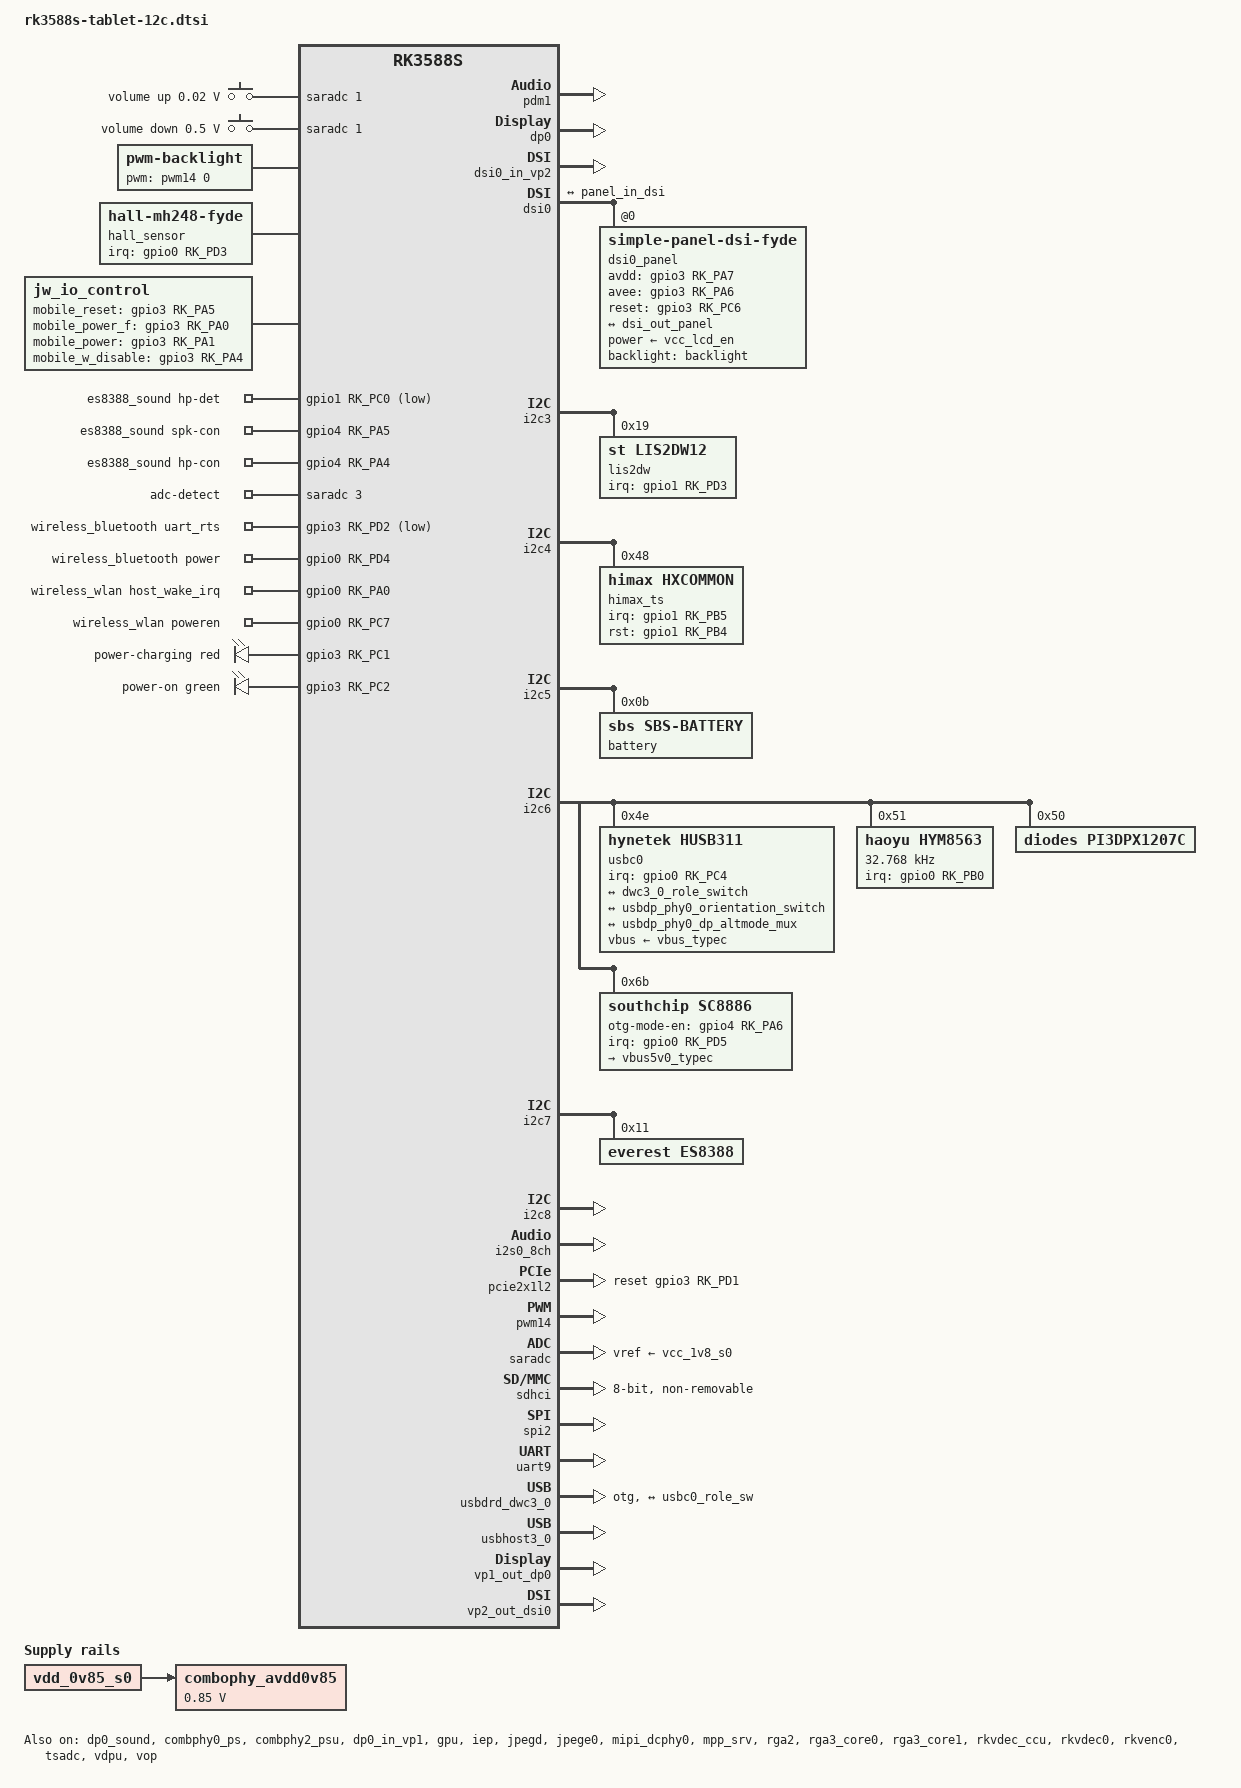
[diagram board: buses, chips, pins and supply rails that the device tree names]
// SPDX-License-Identifier: (GPL-2.0+ OR MIT)
/*
 * Copyright (c) 2021 Rockchip Electronics Co., Ltd.
 *
 */
#include <dt-bindings/leds/common.h>
#include "dt-bindings/usb/pd.h"
#include "rk3588s.dtsi"
#include "rk3588s-12c.dtsi"
#include "rk3588s-12c-rk806-single.dtsi"

/ {
	adc_keys: adc-keys {
		compatible = "adc-keys";
		io-channels = <&saradc 1>;
		io-channel-names = "buttons";
		keyup-threshold-microvolt = <1800000>;
		poll-interval = <100>;
		status = "okay";
		vol-up-key {
			label = "volume up";
			linux,code = <KEY_VOLUMEUP>;
			press-threshold-microvolt = <20000>;
		};

		vol-down-key {
			label = "volume down";
			linux,code = <KEY_VOLUMEDOWN>;
			press-threshold-microvolt = <500000>;
		};
	};

	backlight: backlight {
		compatible = "pwm-backlight";
		pwms = <&pwm14 0 25000 0>;
		brightness-levels = <
			  0  20  20  21  21  22  22  23
			 23  24  24  25  25  26  26  27
			 27  28  28  29  29  30  30  31
			 31  32  32  33  33  34  34  35
			 35  36  36  37  37  38  38  39
			 40  41  42  43  44  45  46  47
			 48  49  50  51  52  53  54  55
			 56  57  58  59  60  61  62  63
			 64  65  66  67  68  69  70  71
			 72  73  74  75  76  77  78  79
			 80  81  82  83  84  85  86  87
			 88  89  90  91  92  93  94  95
			 96  97  98  99 100 101 102 103
			104 105 106 107 108 109 110 111
			112 113 114 115 116 117 118 119
			120 121 122 123 124 125 126 127
			128 129 130 131 132 133 134 135
			136 137 138 139 140 141 142 143
			144 145 146 147 148 149 150 151
			152 153 154 155 156 157 158 159
			160 161 162 163 164 165 166 167
			168 169 170 171 172 173 174 175
			176 177 178 179 180 181 182 183
			184 185 186 187 188 189 190 191
			192 193 194 195 196 197 198 199
			200 201 202 203 204 205 206 207
			208 209 210 211 212 213 214 215
			216 217 218 219 220 221 222 223
			224 225 226 227 228 229 230 231
			232 233 234 235 236 237 238 239
			240 241 242 243 244 245 246 247
			248 249 250 251 252 253 254 255
		>;
		default-brightness-level = <200>;
    post-pwm-on-delay-ms = <200>;
	};

    hall_sensor: hall-mh248 {
        compatible = "hall-mh248-fyde";
        pinctrl-names = "default";
        pinctrl-0 = <&mh248_irq_gpio>;
        irq-gpio = <&gpio0 RK_PD3 IRQ_TYPE_EDGE_BOTH>;
        hall-active = <1>;
        status = "okay";
    };

	combophy_avdd0v85: combophy-avdd0v85 {
		compatible = "regulator-fixed";
		regulator-name = "combophy_avdd0v85";
		regulator-boot-on;
		regulator-min-microvolt = <850000>;
		regulator-max-microvolt = <850000>;
		vin-supply = <&vdd_0v85_s0>;
	};

    jw_io_control: jw_io_control {
        status = "okay";
        compatible = "jw_io_control";
        mobile_reset = <&gpio3 RK_PA5 GPIO_ACTIVE_HIGH>;
        mobile_power_f = <&gpio3 RK_PA0 GPIO_ACTIVE_HIGH>;
        mobile_power = <&gpio3 RK_PA1 GPIO_ACTIVE_HIGH>;
        mobile_w_disable = <&gpio3 RK_PA4 GPIO_ACTIVE_HIGH>;
    };

	charge-animation {
		compatible = "rockchip,uboot-charge";
		rockchip,uboot-charge-on = <0>;
		rockchip,android-charge-on = <1>;
		rockchip,uboot-low-power-voltage = <3350>;
		rockchip,screen-on-voltage = <3400>;
		status = "okay";
	};

    es8388_sound: es8388-sound {
        status = "okay";
        compatible = "rockchip,multicodecs-card";
        rockchip,card-name = "rockchip-es8388";
        hp-det-gpio = <&gpio1 RK_PC0 GPIO_ACTIVE_LOW>;
        io-channels = <&saradc 3>;
        io-channel-names = "adc-detect";
        keyup-threshold-microvolt = <500000>;
        poll-interval = <100>;
        spk-con-gpio = <&gpio4 RK_PA5 GPIO_ACTIVE_HIGH>;
        hp-con-gpio = <&gpio4 RK_PA4 GPIO_ACTIVE_HIGH>;
        rockchip,format = "i2s";
        rockchip,mclk-fs = <256>;
        rockchip,cpu = <&i2s0_8ch>;
        rockchip,codec = <&es8388>;
        rockchip,audio-routing =
                "Headphone", "LOUT1",
                "Headphone", "ROUT1",
                "Speaker", "LOUT2",
                "Speaker", "ROUT2",
                "Headphone", "Headphone Power",
                "Headphone", "Headphone Power",
                "Speaker", "Speaker Power",
                "Speaker", "Speaker Power",
                "LINPUT1", "Main Mic",
                "LINPUT2", "Main Mic",
                "RINPUT1", "Headset Mic",
                "RINPUT2", "Headset Mic";
        pinctrl-names = "default";
        pinctrl-0 = <&hp_det>;
        play-pause-key {
                label = "playpause";
                linux,code = <KEY_PLAYPAUSE>;
                press-threshold-microvolt = <10000>;
        };
        vol-up-key {
            label = "volume up";
            linux,code = <KEY_VOLUMEUP>;
            press-threshold-microvolt = <135000>;
        };
        vol-down-key {
            label = "volume down";
            linux,code = <KEY_VOLUMEDOWN>;
            press-threshold-microvolt = <220000>;
        };
    };

    dmic: dmic {
        status = "okay";
        compatible = "simple-audio-card";
        simple-audio-card,name = "rockchip,dmic";

        simple-audio-card,dai-link@0 {
            format = "pdm";
            cpu {
                sound-dai = <&pdm1>;
            };
			codec {
				sound-dai = <&pdmics>;
			};
        };
    };

	pdmics: dummy-codec {
		status = "okay";
		compatible = "rockchip,dummy-codec";
		#sound-dai-cells = <0>;
	};

	wireless_bluetooth: wireless-bluetooth {
		compatible = "bluetooth-platdata";
		clocks = <&hym8563>;
		clock-names = "ext_clock";
		uart_rts_gpios = <&gpio3 RK_PD2 GPIO_ACTIVE_LOW>;
		pinctrl-names = "default", "rts_gpio";
		pinctrl-0 = <&uart9m2_rtsn>, <&bt_reset_gpio>, <&bt_wake_gpio>, <&bt_wake_host_irq>;
		pinctrl-1 = <&uart9_gpios>;
		BT,power_gpio    = <&gpio0 RK_PD4 GPIO_ACTIVE_HIGH>;
		//BT,wake_gpio     = <&gpio0 RK_PC6 GPIO_ACTIVE_HIGH>;
		//BT,wake_host_irq = <&gpio0 RK_PC5 GPIO_ACTIVE_HIGH>;
		status = "okay";
	};

	wireless_wlan: wireless-wlan {
		compatible = "wlan-platdata";
		wifi_chip_type = "ap6275p";
		pinctrl-names = "default";
		pinctrl-0 = <&wifi_host_wake_irq>, <&wifi_poweren_gpio>;
		WIFI,host_wake_irq = <&gpio0 RK_PA0 GPIO_ACTIVE_HIGH>;
		WIFI,poweren_gpio = <&gpio0 RK_PC7 GPIO_ACTIVE_HIGH>;
		status = "okay";
	};

  leds {
    compatible = "gpio-leds";
    pinctrl-names = "default";
    pinctrl-0 = <&red_led_pin &green_led_pin>;

    red_led: led-0 {
      color = <LED_COLOR_ID_RED>;
      default-state = "off";
      gpios = <&gpio3 RK_PC1 GPIO_ACTIVE_HIGH>;
      linux,default-trigger = "sbs-5-000b-charging";
      label = "power-charging";
      retain-state-suspended;
    };

    green_led: led-1 {
      color = <LED_COLOR_ID_GREEN>;
      default-state = "on";
      gpios = <&gpio3 RK_PC2 GPIO_ACTIVE_HIGH>;
      linux,default-trigger = "timer";
      label = "power-on";
      led-pattern = <500>, <1500>;
    };

  };
};

&pdm1 {
	rockchip,path-map = <3 2 1 0>;
	pinctrl-names = "default";
	pinctrl-0 = <&pdm1m1_clk1 &pdm1m1_sdi3>;
	status = "okay";
};

&dp0_sound {
  /*
  pinctrl-0 = <&cc_int0_hpdin_l>;
  hpd-gpios = <&gpio0 RK_PC4 GPIO_ACTIVE_HIGH>;
  */
  status = "okay";
};

&combphy0_ps {
	status = "okay";
};

&combphy2_psu {
	status = "okay";
};

&cpu_l0 {
	cpu-supply = <&vdd_cpu_lit_s0>;
	mem-supply = <&vdd_cpu_lit_mem_s0>;
};

&cpu_b0 {
	cpu-supply = <&vdd_cpu_big0_s0>;
	mem-supply = <&vdd_cpu_big0_mem_s0>;
};

&cpu_b2 {
	cpu-supply = <&vdd_cpu_big1_s0>;
	mem-supply = <&vdd_cpu_big1_mem_s0>;
};

&dp0 {
	status = "okay";
};

&dp0_in_vp1 {
	status = "okay";
};

&dsi0_in_vp2 {
	status = "okay";
};

/*
 * mipi_dcphy0 needs to be enabled
 * when dsi0 is enabled
 */
&dsi0 {
	status = "okay";
	rockchip,lane-rate = <676000>;
	dsi0_panel: panel@0 {
		status = "okay";
		compatible = "simple-panel-dsi-fyde";
		reg = <0>;
		backlight = <&backlight>;
		power-supply = <&vcc_lcd_en>;
		//enable-gpios = <&gpio4 RK_PA3 GPIO_ACTIVE_HIGH>;
		avdd-gpios = <&gpio3 RK_PA7 GPIO_ACTIVE_HIGH>;
		avee-gpios = <&gpio3 RK_PA6 GPIO_ACTIVE_HIGH>;
		reset-gpios = <&gpio3 RK_PC6 GPIO_ACTIVE_HIGH>;
		pinctrl-names = "default";
		pinctrl-0 = <&avdd_lcd_gpio &avee_lcd_gpio &lcd_rst_gpio>;
		reset-delay-ms = <120>;
		enable-delay-ms = <120>;
		prepare-delay-ms = <120>;
		init-delay-ms = <120>;
		unprepare-delay-ms = <120>;
		disable-delay-ms = <120>;
		compressed-data;
		//dsi,flags = <(MIPI_DSI_MODE_LPM | MIPI_DSI_MODE_EOT_PACKET)>;
		dsi,flags = <(MIPI_DSI_MODE_VIDEO | MIPI_DSI_MODE_VIDEO_BURST | MIPI_DSI_MODE_LPM | MIPI_DSI_MODE_EOT_PACKET)>;
		dsi,format = <MIPI_DSI_FMT_RGB888>;
		dsi,lanes  = <4>;

    slice-width = <1600>;
    slice-height = <40>;
    version-major = <1>;
    version-minor = <1>;
		panel-init-sequence = [

		   0a 31 58 11 00 00 89 30 80 0A 00 06 40 00 28 06 40 06 40 02 00 04 21 00 20 05 D0 00 16 00 0C 02 77 00 DA 18 00 10 E0 03 0C 20 00 06 0B 0B 33 0E 1C 2A 38 46 54 62 69 70 77 79 7B 7D 7E 01 02 01 00 09 40 09 BE 19 FC 19 FA 19 F8 1A 38 1A 78 1A B6 2A F6 2B 34 2B 74 3B 74 6B 74
			39 00 06 B9 83 12 1A 55 00
			39 00 03 51 08 00
			39 00 02 53 24
			39 00 1D B1 1C 6B 6B 27 E7 00 1B 12 20 20 2D 2D 1F 33 31 40 CD FF 1A 05 15 98 00 88 F9 FF FF CF
			39 00 12 B2 00 6A 40 00 00 14 6E 40 73 02 80 21 21 00 00 10 27
			39 00 2D B4 64 00 08 7F 08 7F 00 62 01 72 01 72 00 60 00 00 0A 08 00 29 05 05 05 00 00 00 00 00 00 00 00 00 00 00 FF 00 FF 14 00 00 0F 0F 2D 2D
			39 00 04 B6 8F 8F 03
			39 00 03 BC 06 02
			39 00 07 C0 34 34 44 00 08 D8
			39 00 06 C9 00 1E 80 A5 01
			39 00 07 CB 00 13 38 00 0B 27
			39 00 02 CC 02
			39 00 02 D1 07
			39 00 29 D3 00 C0 08 08 08 04 04 04 14 02 07 07 07 31 13 12 12 12 03 03 03 32 10 11 00 11 32 10 03 00 03 32 10 03 00 03 00 00 FF 00
			39 00 31 D5 19 19 18 18 02 02 03 03 04 04 05 05 06 06 07 07 00 00 01 01 18 18 40 40 20 20 18 18 18 18 40 40 18 18 2F 2F 31 31 2F 2F 31 31 18 18 41 41 41 41
			39 00 31 D6 40 40 18 18 05 05 04 04 03 03 02 02 01 01 00 00 07 07 06 06 18 18 19 19 20 20 18 18 18 18 40 40 18 18 2F 2F 31 31 2F 2F 31 31 18 18 41 41 41 41
			39 00 40 E1 11 00 00 89 30 80 0A 00 06 40 00 28 06 40 06 40 02 00 04 21 00 20 05 D0 00 16 00 0C 02 77 00 DA 18 00 10 E0 03 0C 20 00 06 0B 0B 33 0E 1C 2A 38 46 54 62 69 70 77 79 7B 7D 7E 01 02 01 00 09
			39 00 0C E7 06 14 14 1A 23 38 00 23 5D 02 02
			39 00 02 BD 01
			39 00 04 B1 01 23 00
			39 00 25 D8 20 00 02 22 00 00 20 00 02 22 00 00 20 00 02 22 00 00 20 00 02 22 00 00 20 00 02 22 00 00 20 00 02 22 00 00
			39 00 1A E1 40 09 BE 19 FC 19 FA 19 F8 1A 38 1A 78 1A B6 2A F6 2B 34 2B 74 3B 74 6B F4
			39 00 0D E7 02 00 40 01 84 13 BE 14 48 00 04 26
			39 00 08 CB 1F 55 03 28 0D 08 0A
			39 00 02 BD 02
			39 00 0D D8 AF FF FA FA BF EA AF FF FA FA BF EA
			39 00 23 E7 01 05 01 03 01 03 04 02 02 24 00 24 81 02 40 00 29 60 03 02 01 00 00 00 00 00 00 00 00 00 00 00 00 00
			39 00 02 BD 03
			39 00 19 D8 AA AA AA AB BF EA AA AA AA AB BF EA AF FF FA FA BF EA AF FF FA FA BF EA
			39 00 03 E1 01 3F
			39 00 02 BD 00
			39 00 2F E0 00 13 30 36 40 78 8B 94 95 97 94 94 91 8F 8F 8B 8A 8C 8E A6 B7 4D 7F 00 13 30 36 40 78 8B 94 95 97 94 94 91 8F 8F 8B 8A 8C 8E A6 B7 4D 7F
			39 00 05 BA 70 03 A8 92
			39 00 25 D8 EA AA AA AE AA AF EA AA AA AE AA AF E0 00 0A 2E 80 2F E0 00 0A 2E 80 2F E0 00 0A 2E 80 2F E0 00 0A 2E 80 2F
			39 00 02 BD 00
			39 00 02 C1 01
			39 00 02 BD 01
			39 00 3B C1 00 04 08 0C 10 14 18 1C 1F 23 27 2B 2F 33 37 3B 3F 43 47 4B 52 5A 62 69 71 79 81 89 91 98 A1 A9 B1 B9 C1 CA D2 DA E3 EA F4 F8 F9 FB FD FF 16 A4 44 16 90 E7 F9 71 A0 F3 1F 40
			39 00 02 BD 02
			39 00 3B C1 00 04 08 0C 10 14 18 1C 20 24 28 2D 31 35 39 3D 41 45 49 4D 55 5D 65 6D 75 7D 85 8D 94 9C A4 AC B4 BC C4 CC D4 DC E4 EC F4 F8 FA FC FE FF 06 AA FC 5B FF FF A4 F9 86 F9 55 40
			39 00 02 BD 03
			39 00 3B C1 00 04 07 0B 0F 13 17 1B 1F 23 27 2C 30 33 38 3C 40 44 48 4C 53 5B 63 6B 72 7A 82 89 91 99 A1 A9 B1 B9 C1 C9 D1 DA E2 EA F3 F6 F9 FA FE FF 0F 9A FC 31 40 E4 FB E9 A3 D9 77 00
			39 00 02 BD 02
			39 00 02 BF 72
			39 00 02 BD 00
			39 00 08 BF FD 00 80 9C 10 00 80
			39 00 02 E9 DE
			39 00 04 B1 CC 03 00
			39 00 02 E9 3F
			39 00 07 D0 07 C0 08 03 11 00
			39 00 03 B0 00 00
			39 00 02 E9 CF
			39 00 02 BA 03
			39 00 02 E9 3F
			//39 00 04 B9 83 12 1A
			//39 00 02 C7 00
			//39 00 02 CF FF


			39 00 01 11
			39 00 01 29

		];

		panel-exit-sequence = [

		];

    width-mm = <166>;
    height-mm = <266>;
    rotation = <90>;
    bpc = <8>;

			dsi0_timing0: panel-timing {
				clock-frequency = <275000000>;
				hactive = <1600>;
				vactive = <2560>;
				hfront-porch = <60>;
				hsync-len = <20>;
				hback-porch = <40>;
				vfront-porch = <112>;
				vsync-len = <4>;
				vback-porch = <18>;
				hsync-active = <0>;
				vsync-active = <0>;
				de-active = <0>;
				pixelclk-active = <0>;
			};

		ports {
			#address-cells = <1>;
			#size-cells = <0>;

			port@0 {
				reg = <0>;
				panel_in_dsi: endpoint {
					remote-endpoint = <&dsi_out_panel>;
				};
			};
		};
	};

	ports {
		#address-cells = <1>;
		#size-cells = <0>;

		port@1 {
			reg = <1>;
			dsi_out_panel: endpoint {
				remote-endpoint = <&panel_in_dsi>;
			};
		};
	};
};
&dsi1 {
	status = "disabled";
};

&gpu {
	mali-supply = <&vdd_gpu_s0>;
	mem-supply = <&vdd_gpu_mem_s0>;
	status = "okay";
};

&i2c3 {
	status = "okay";
	pinctrl-names = "default";
	pinctrl-0 = <&i2c3m1_xfer>;
    lis2dw@19 {
            compatible = "st,lis2dw12";
            reg = <0x19>;
            interrupt-parent = <&gpio1>;
            interrupts = <RK_PD3 IRQ_TYPE_LEVEL_LOW>;
            pinctrl-names = "default";
            pinctrl-0 = <&gyr_int_l>;
    };
};

&i2c4 {
	status = "okay";
	pinctrl-names = "default";
	pinctrl-0 = <&i2c4m3_xfer>;

	himax_ts@48 {
        status = "okay";
        compatible = "himax,hxcommon";
        reg = <0x48>;
        interrupt-parent = <&gpio1>;
        interrupts = <RK_PB5 IRQ_TYPE_LEVEL_LOW>;
        himax,panel-coords = <0 1600 0 2560>;
        himax,display-coords = <0 1600 0 2560>;
        himax,irq-gpio = <&gpio1 RK_PB5 GPIO_ACTIVE_HIGH>;
        himax,rst-gpio = <&gpio1 RK_PB4 GPIO_ACTIVE_HIGH>;
        report_type = <1>;
	};
};

&i2c5 {
	status = "okay";
	pinctrl-names = "default";
	pinctrl-0 = <&i2c5m3_xfer>;
    battery: sbs-battery@b {
			status = "okay";
            compatible = "sbs,sbs-battery";
            reg = <0x0b>;
            sbs,poll-retry-count = <100>;
            sbs,i2c-retry-count = <100>;
    };
};

&i2c6 {
	status = "okay";
	pinctrl-names = "default";
	pinctrl-0 = <&i2c6m3_xfer>;

	usbc0: husb311@4e {
		compatible = "hynetek,husb311";
		reg = <0x4e>;
		interrupt-parent = <&gpio0>;
		interrupts = <RK_PC4 IRQ_TYPE_LEVEL_LOW>;
		pinctrl-names = "default";
		pinctrl-0 = <&usbc0_int>;
		vbus-supply = <&vbus_typec>;
		status = "okay";

		ports {
			#address-cells = <1>;
			#size-cells = <0>;

			port@0 {
				reg = <0>;
				usbc0_role_sw: endpoint@0 {
					remote-endpoint = <&dwc3_0_role_switch>;
				};
			};
		};

		usb_con: connector {
			compatible = "usb-c-connector";
			label = "USB-C";
			data-role = "dual";
			power-role = "dual";
			try-power-role = "sink";
			op-sink-microwatt = <1000000>;
            sink-pdos =
                <PDO_FIXED(5000, 3000, PDO_FIXED_USB_COMM)
					PDO_FIXED(9000, 3000, PDO_FIXED_USB_COMM)
					PDO_FIXED(20000, 2500, PDO_FIXED_USB_COMM)>;
            source-pdos =
                <PDO_FIXED(5000, 3000, PDO_FIXED_USB_COMM)>;

			altmodes {
				#address-cells = <1>;
				#size-cells = <0>;

				altmode@0 {
					reg = <0>;
					svid = <0xff01>;
					vdo = <0xffffffff>;
				};
			};

			ports {
				#address-cells = <1>;
				#size-cells = <0>;

				port@0 {
					reg = <0>;
					usbc0_orien_sw: endpoint {
						remote-endpoint = <&usbdp_phy0_orientation_switch>;
					};
				};

				port@1 {
					reg = <1>;
					dp_altmode_mux: endpoint {
						remote-endpoint = <&usbdp_phy0_dp_altmode_mux>;
					};
				};
			};
		};
	};

	hym8563: hym8563@51 {
		compatible = "haoyu,hym8563";
		reg = <0x51>;
		#clock-cells = <0>;
		clock-frequency = <32768>;
		clock-output-names = "hym8563";
		pinctrl-names = "default";
		pinctrl-0 = <&hym8563_int>;
		interrupt-parent = <&gpio0>;
		interrupts = <RK_PB0 IRQ_TYPE_LEVEL_LOW>;
		wakeup-source;
		status = "okay";
	};

	pi3dpx1207c: pi3dpx1207c@50 {
		compatible = "diodes,pi3dpx1207c";
		reg = <0x50>;
		pinctrl-names = "default";
		status = "okay";
	};

	ktd2151: ktd2151@3e {
		compatible = "ktd2151";
		reg = <0x3e>;
		status = "disabled";
	};

    sc8886: sc8886@6b {
        status = "okay";
        compatible = "southchip,sc8886";
        reg = <0x6b>;
        ti,usb-charger-detection = <&usbc0>;

        interrupt-parent = <&gpio0>;
        interrupts = <RK_PD5 IRQ_TYPE_LEVEL_LOW>;
        otg-mode-en-gpios = <&gpio4 RK_PA6 GPIO_ACTIVE_HIGH>;
        pinctrl-names = "default";
        pinctrl-0 = <&charger_ok>;
        extcon = <&usbc0>;
        ti,battery = <&battery>;
        ti,charge-current = <2500000>;
        ti,max-input-voltage = <20000000>;
        ti,max-input-current = <5000000>;
        ti,max-charge-voltage = <13200000>;
        ti,input-current = <3000000>;
        ti,input-current-sdp = <3000000>;
        ti,input-current-dcp = <3000000>;
        ti,input-current-cdp = <3000000>;
        ti,minimum-sys-voltage = <9216000>;
        ti,otg-voltage = <5000000>;
        ti,otg-current = <3000000>;
        pd-charge-only = <0>;
        regulators {
            vbus5v0_typec: vbus5v0-typec {
            regulator-compatible = "otg-vbus";
            regulator-name = "vbus5v0_typec";
			};
        };
    };
};

&i2c7 {
	status = "okay";
	pinctrl-names = "default";
	pinctrl-0 = <&i2c7m0_xfer>;

	es8388: es8388@11 {
		status = "okay";
		#sound-dai-cells = <0>;
		compatible = "everest,es8388", "everest,es8323";
		reg = <0x11>;
		clocks = <&cru I2S0_8CH_MCLKOUT>;
		clock-names = "mclk";
		pinctrl-names = "default";
		pinctrl-0 = <&i2s0_mclk>;
	};
};


&i2c8 {
	status = "okay";
	pinctrl-names = "default";
	pinctrl-0 = <&i2c8m2_xfer>;
};

&i2s0_8ch {
	status = "okay";
	pinctrl-0 = <&i2s0_lrck
		     &i2s0_sclk
		     &i2s0_sdi0
		     &i2s0_sdo0>;
};

&iep {
	status = "okay";
};

&iep_mmu {
	status = "okay";
};

&jpegd {
	status = "okay";
};

&jpegd_mmu {
	status = "okay";
};

&jpege0 {
	status = "okay";
};

&jpege0_mmu {
	status = "okay";
};

&mipi_dcphy0 {
	status = "okay";
};

&mipi_dcphy1 {
	status = "disabled";
};

&mpp_srv {
	status = "okay";
};

&pcie2x1l2 {
	reset-gpios = <&gpio3 RK_PD1 GPIO_ACTIVE_HIGH>;
	rockchip,skip-scan-in-resume;
	status = "okay";
};

&pdm0 {
	status = "disabled";
};

&pinctrl {
	charger {
		charger_ok: charger_ok {
			rockchip,pins = <0 RK_PD5 RK_FUNC_GPIO &pcfg_pull_up>;
		};
	};

    headphone {
        hp_det: hp-det {
            rockchip,pins = <1 RK_PC0 RK_FUNC_GPIO &pcfg_pull_none>;
        };
    };

	hym8563 {
		hym8563_int: hym8563-int {
			rockchip,pins = <0 RK_PB0 RK_FUNC_GPIO &pcfg_pull_up>;
		};
	};

	lcd {
		vcc_lcd_en_pin: vcc-lcd-en-pin {
			rockchip,pins = <4 RK_PA3 RK_FUNC_GPIO &pcfg_pull_none>;
		};

		lcd_rst_gpio: lcd-rst-gpio {
			rockchip,pins = <3 RK_PC6 RK_FUNC_GPIO &pcfg_pull_none>;
		};

		avdd_lcd_gpio: avdd-lcd-gpio {
			rockchip,pins = <3 RK_PA7 RK_FUNC_GPIO &pcfg_pull_none>;
		};

		avee_lcd_gpio: avee-lcd-gpio {
			rockchip,pins = <3 RK_PA6 RK_FUNC_GPIO &pcfg_pull_none>;
		};
	};


	battery {
		batt_in_en: batt-in-en {
			rockchip,pins = <3 RK_PC4 RK_FUNC_GPIO &pcfg_pull_up>;
		};
	};

	touch {
		touch_gpio: touch-gpio {
			rockchip,pins =
				<1 RK_PB4 RK_FUNC_GPIO &pcfg_pull_up>,
				<1 RK_PB5 RK_FUNC_GPIO &pcfg_pull_up>;
		};

	};

  leds-gpio {
    red_led_pin: red-led-pin {
     rockchip,pins = <3 RK_PC1 RK_FUNC_GPIO &pcfg_pull_none>;
    };
    green_led_pin: green-led-pin {
     rockchip,pins = <3 RK_PC2 RK_FUNC_GPIO &pcfg_pull_none>;
    };
  };
	//usb {
	//	vcc5v0_host_en: vcc5v0-host-en {
	//		rockchip,pins = <4 RK_PA2 RK_FUNC_GPIO &pcfg_pull_none>;
	//	};
	//};

	usb-typec {
		usbc0_int: usbc0-int {
			rockchip,pins = <0 RK_PC4 RK_FUNC_GPIO &pcfg_pull_up>;
		};
		sbu1_dc: sbu1-dc {
			rockchip,pins = <4 RK_PA0 RK_FUNC_GPIO &pcfg_pull_none>;
		};
		sbu2_dc: sbu2-dc {
			rockchip,pins = <4 RK_PA1 RK_FUNC_GPIO &pcfg_pull_none>;
		};
		/*
		 *typec5v_pwren: typec5v-pwren {
		 *        rockchip,pins = <1 RK_PA1 RK_FUNC_GPIO &pcfg_pull_none>;
		 *};
		 */
	};

	wireless-bluetooth {
		uart9_gpios: uart9-gpios {
			rockchip,pins = <3 RK_PD2 RK_FUNC_GPIO &pcfg_pull_none>;
		};

		bt_reset_gpio: bt-reset-gpio {
			rockchip,pins = <0 RK_PD4 RK_FUNC_GPIO &pcfg_pull_none>;
		};

		bt_wake_gpio: bt-wake-gpio {
			rockchip,pins = <0 RK_PC6 RK_FUNC_GPIO &pcfg_pull_none>;
		};

		bt_wake_host_irq: bt-wake-host-irq {
			rockchip,pins = <0 RK_PC5 RK_FUNC_GPIO &pcfg_pull_down>;
		};
	};

	wireless-wlan {
		wifi_host_wake_irq: wifi-host-wake-irq {
			rockchip,pins = <0 RK_PA0 RK_FUNC_GPIO &pcfg_pull_down>;
		};

		wifi_poweren_gpio: wifi-poweren-gpio {
			rockchip,pins = <0 RK_PC7 RK_FUNC_GPIO &pcfg_pull_up>;
		};
	};

  sensor {
      mh248_irq_gpio: mh248-irq-gpio {
              rockchip,pins = <0 RK_PD3 RK_FUNC_GPIO &pcfg_pull_up>;
      };
      gyr_int_l: gyr-int-l {
              rockchip,pins = <1 RK_PD3 RK_FUNC_GPIO &pcfg_pull_up>;
      };
  };
/*
  vga {
    cc_int0_hpdin_l: cc-int0-hpdin-l {
      rockchip,pins = <0 RK_PC4 RK_FUNC_GPIO &pcfg_pull_none>;
    };
  };
  */
};

&pwm14 {
	status = "okay";
	pinctrl-names = "active";
	pinctrl-0 = <&pwm14m1_pins>;
};

&rga2 {
	status = "okay";
};

&rga3_core0 {
	status = "okay";
};

&rga3_0_mmu {
	status = "okay";
};

&rga3_core1 {
	status = "okay";
};

&rga3_1_mmu {
	status = "okay";
};

&rkvdec_ccu {
	status = "okay";
};

&rkvdec0 {
	status = "okay";
};

&rkvdec0_mmu {
	status = "okay";
};

&rkvenc0 {
	status = "okay";
};

&rkvenc0_mmu {
	status = "okay";
};

&rockchip_suspend {
	status = "okay";
	rockchip,sleep-debug-en = <1>;
};

&saradc {
    status = "okay";
    vref-supply = <&vcc_1v8_s0>;
};

&sdhci {
	bus-width = <8>;
	no-sdio;
	no-sd;
	non-removable;
	max-frequency = <200000000>;
	mmc-hs400-1_8v;
	mmc-hs400-enhanced-strobe;
	status = "okay";
};

&spi2 {
	status = "okay";
};


&spi0 {
	status = "disabled";
	assigned-clocks = <&cru CLK_SPI0>;
	assigned-clock-rates = <200000000>;
	pinctrl-names = "default";
	pinctrl-0 = <&spi0m2_cs0 &spi0m2_pins>;
	num-cs = <1>;
    madev@0 {
		status = "okay";
		compatible = "microarray,microarray-fp";
		/*irq-gpio = <&gpio3 RK_PB0 IRQ_TYPE_EDGE_RISING>;*/
        fingerprint,touch-int-gpio = <&gpio3 RK_PB0 IRQ_TYPE_EDGE_RISING>;
		reg = <0>;
		spi-max-frequency = <6000000>;
		spi-cpha;
		spi-cpol;
	};
};

&tsadc {
	status = "okay";
};

&uart9 {
	status = "okay";
	pinctrl-names = "default";
	pinctrl-0 = <&uart9m2_xfer &uart9m2_ctsn>;
};

&u2phy0_otg {
	rockchip,typec-vbus-det;
};

&u2phy2_host {
	//phy-supply = <&vcc5v0_host_en>;
};

&u2phy3_host {
	//phy-supply = <&vcc5v0_host_en>;
};

&usbdp_phy0 {
	orientation-switch;
	svid = <0xff01>;
	sbu1-dc-gpios = <&gpio4 RK_PA0 GPIO_ACTIVE_HIGH>;
	sbu2-dc-gpios = <&gpio4 RK_PA1 GPIO_ACTIVE_HIGH>;
	pinctrl-names = "default";
	pinctrl-0 = <&sbu1_dc &sbu2_dc>;
  keep-dp-normal;

	port {
		#address-cells = <1>;
		#size-cells = <0>;
		usbdp_phy0_orientation_switch: endpoint@0 {
			reg = <0>;
			remote-endpoint = <&usbc0_orien_sw>;
		};

		usbdp_phy0_dp_altmode_mux: endpoint@1 {
			reg = <1>;
			remote-endpoint = <&dp_altmode_mux>;
		};
	};
};

&usbdrd_dwc3_0 {
	dr_mode = "otg";
	usb-role-switch;
	port {
		#address-cells = <1>;
		#size-cells = <0>;
		dwc3_0_role_switch: endpoint@0 {
			reg = <0>;
			remote-endpoint = <&usbc0_role_sw>;
		};
	};
};

&usbhost3_0 {
	status = "okay";
};

&usbhost_dwc3_0 {
	status = "disabled";
};



&vdpu {
	status = "okay";
};

&vdpu_mmu {
	status = "okay";
};

&vop {
	status = "okay";
};

&vop_mmu {
	status = "okay";
};

&route_dsi0 {
	status = "disabled";
	connect = <&vp2_out_dsi0>;
};

&vp1_out_dp0 {
	status = "okay";
};

&vp2_out_dsi0 {
	status = "okay";
};
